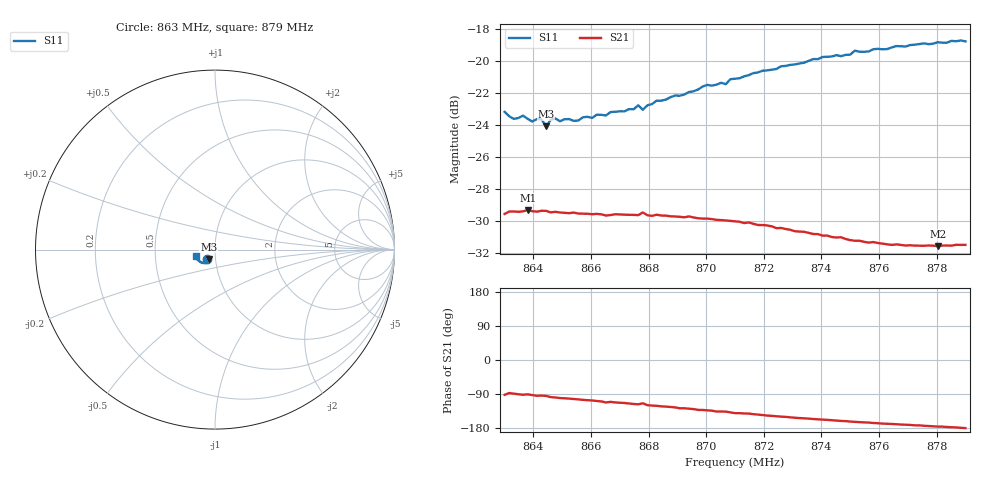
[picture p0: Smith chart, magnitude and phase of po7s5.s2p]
# HZ S RI R 50
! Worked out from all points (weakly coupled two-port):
!   101 points, 863 MHz to 879 MHz, reference 50 ohm
!   highest |S21| = -29.30 dB at 863.8 MHz (marker M1); lowest = -31.6 dB at 878.04 MHz (marker M2)
!   lowest |S11| = -24.1 dB at 864.44 MHz (marker M3), VSWR 1.13, Z = 46.4 - j4.82 ohm
!   |S11| at or under -10 dB: start of sweep to end of sweep
!   S12 and S22 are empty: the file has one direction only
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8.63e8  -0.0444 -0.0533  -0.00112 -0.0333  0 0  0 0
8.6332e8  -0.0403 -0.0522  0.000696 -0.0339  0 0  0 0
8.6364e8  -0.0414 -0.0534  -0.000994 -0.0339  0 0  0 0
8.638e8  -0.0381 -0.0539  -0.000321 -0.0343  0 0  0 0
8.6428e8  -0.0349 -0.0558  -0.00231 -0.034  0 0  0 0
8.6444e8  -0.035 -0.0517  -0.00282 -0.034  0 0  0 0
8.646e8  -0.0375 -0.0537  -0.00466 -0.0334  0 0  0 0
8.6476e8  -0.0367 -0.0551  -0.00524 -0.0334  0 0  0 0
8.654e8  -0.0344 -0.0552  -0.00754 -0.0328  0 0  0 0
8.6572e8  -0.0337 -0.0576  -0.00873 -0.0322  0 0  0 0
8.6652e8  -0.0332 -0.0589  -0.0124 -0.0305  0 0  0 0
8.6748e8  -0.0332 -0.0624  -0.0145 -0.0297  0 0  0 0
8.6764e8  -0.035 -0.0638  -0.015 -0.0294  0 0  0 0
8.678e8  -0.0344 -0.0615  -0.0138 -0.0307  0 0  0 0
8.6844e8  -0.0358 -0.0661  -0.0176 -0.0278  0 0  0 0
8.7004e8  -0.0426 -0.0727  -0.0219 -0.0236  0 0  0 0
8.7068e8  -0.0443 -0.0722  -0.0229 -0.022  0 0  0 0
8.71e8  -0.0477 -0.074  -0.0243 -0.0202  0 0  0 0
8.7372e8  -0.0685 -0.0747  -0.0263 -0.0118  0 0  0 0
8.7644e8  -0.0916 -0.0612  -0.0262 -0.00518  0 0  0 0
8.7804e8  -0.1037 -0.0484  -0.0264 -0.00197  0 0  0 0
8.79e8  -0.1086 -0.0384  -0.0267 -0.000173  0 0  0 0
